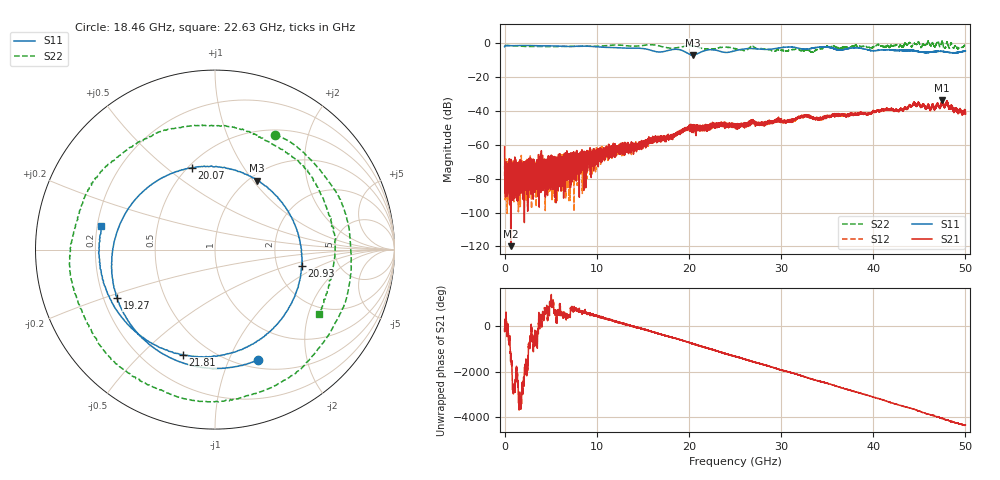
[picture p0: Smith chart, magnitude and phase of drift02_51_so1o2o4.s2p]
!Created with skrf (http://scikit-rf.org).
# Hz S RI R 50.0
!freq ReS11 ImS11 ReS21 ImS21 ReS12 ImS12 ReS22 ImS22
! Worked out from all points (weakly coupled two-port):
!   10001 points, 300 kHz to 50 GHz, reference 50 ohm
!   highest |S21| = -33.63 dB at 47.49 GHz (marker M1); lowest = -119.8 dB at 665.3 MHz (marker M2)
!   lowest |S11| = -6.9 dB at 20.41 GHz (marker M3), VSWR 2.64, Z = 54.3 + j52.5 ohm
!   |S11| at or under -10 dB: nowhere
!   |S22| runs from -5.3 to 1.6 dB; largest |S21 - S12| = 0.0037
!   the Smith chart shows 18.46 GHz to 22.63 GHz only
!   S11 on the Smith chart (normalised r, x): 18.46 GHz: 0.59, -1.28; 19.27 GHz: 0.26, -0.22; 20.07 GHz: 0.52, +0.62; 20.93 GHz: 2.76, -0.65; 21.81 GHz: 0.36, -0.68; 22.63 GHz: 0.22, +0.10
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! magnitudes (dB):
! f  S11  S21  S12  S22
! 300 kHz  -2.1  -61.2  -77.5  -1.3
! 255.3 MHz  -1.4  -74.7  -83.0  -1.4
! 665.3 MHz  -1.5  -119.8  -83.2  -1.4
! 4.56 GHz  -1.6  -78.3  -74.7  -2.0
! 8.335 GHz  -1.7  -71.4  -68.4  -1.9
! 16.67 GHz  -5.2  -55.0  -56.4  -1.5
! 18.46 GHz  -3.6  -54.2  -54.7  -2.8
! 19.27 GHz  -4.3  -52.5  -51.3  -2.1
! 20.07 GHz  -6.5  -50.5  -50.5  -1.5
! 20.41 GHz  -6.9  -51.2  -49.6  -1.7
! 20.93 GHz  -6.2  -49.2  -51.7  -2.1
! 21.81 GHz  -4.3  -49.0  -49.8  -3.5
! 22.63 GHz  -3.8  -49.2  -47.8  -3.3
! 25 GHz  -4.5  -48.1  -48.5  -3.2
! 26.11 GHz  -3.3  -47.2  -48.4  -4.3
! 26.91 GHz  -3.2  -46.8  -46.6  -1.7
! 33.34 GHz  -3.0  -43.9  -44.3  -5.2
! 34.89 GHz  -2.2  -43.0  -43.5  -2.2
! 41.67 GHz  -4.0  -39.4  -39.1  -2.1
! 44.6 GHz  -4.5  -36.7  -36.2  -0.6
! 47.49 GHz  -4.8  -33.6  -34.2  1.6
! 50 GHz  -4.7  -42.0  -40.5  -1.5
